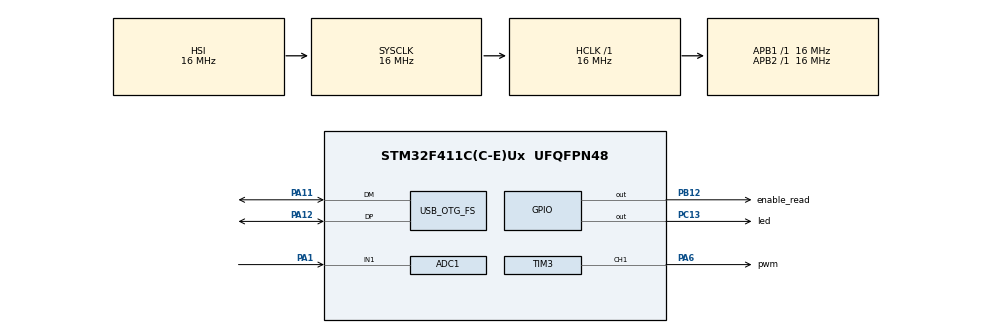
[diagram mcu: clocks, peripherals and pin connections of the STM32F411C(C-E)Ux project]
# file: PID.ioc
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ADC1.Channel-0\#ChannelRegularConversion=ADC_CHANNEL_1
ADC1.ContinuousConvMode=ENABLE
ADC1.DiscontinuousConvMode=DISABLE
ADC1.NbrOfConversion=1
ADC1.NbrOfConversionFlag=1
ADC1.Rank-0\#ChannelRegularConversion=1
ADC1.Resolution=ADC_RESOLUTION_10B
ADC1.SamplingTime-0\#ChannelRegularConversion=ADC_SAMPLETIME_3CYCLES
ADC1.ScanConvMode=DISABLE
ADC1.master=1
Mcu.Family=STM32F4
Mcu.Name=STM32F411C(C-E)Ux
Mcu.Package=UFQFPN48
NVIC.OTG_FS_IRQn=true\:0\:0\:false\:false\:true\:true\:true\:true
NVIC.PriorityGroup=NVIC_PRIORITYGROUP_4
NVIC.TIM4_IRQn=true\:0\:0\:false\:false\:true\:true\:true\:true
PA1.Signal=ADCx_IN1
PA11.Mode=Device_Only
PA11.Signal=USB_OTG_FS_DM
PA12.Mode=Device_Only
PA12.Signal=USB_OTG_FS_DP
PA13.Mode=Serial_Wire
PA13.Signal=SYS_JTMS-SWDIO
PA14.Mode=Serial_Wire
PA14.Signal=SYS_JTCK-SWCLK
PA6.GPIO_Label=pwm
PA6.Signal=S_TIM3_CH1
PB12.GPIO_Label=enable_read
PB12.Signal=GPIO_Output
PC13-ANTI_TAMP.GPIO_Label=led
PC13-ANTI_TAMP.Signal=GPIO_Output
PH0\ -\ OSC_IN.Mode=HSE-External-Oscillator
PH0\ -\ OSC_IN.Signal=RCC_OSC_IN
PH1\ -\ OSC_OUT.Mode=HSE-External-Oscillator
PH1\ -\ OSC_OUT.Signal=RCC_OSC_OUT
ProjectManager.HeapSize=0x200
ProjectManager.StackSize=0x400
ProjectManager.TargetToolchain=STM32CubeIDE
RCC.48MHZClocksFreq_Value=48000000
RCC.AHBFreq_Value=16000000
RCC.APB1Freq_Value=16000000
RCC.APB1TimFreq_Value=16000000
RCC.APB2Freq_Value=16000000
RCC.APB2TimFreq_Value=16000000
RCC.CortexFreq_Value=16000000
RCC.HCLKFreq_Value=16000000
RCC.HSE_VALUE=25000000
RCC.HSI_VALUE=16000000
RCC.LSE_VALUE=32768
RCC.PLLM=15
RCC.PLLN=144
RCC.PLLQ=5
RCC.SYSCLKFreq_VALUE=16000000
RCC.VCOOutputFreq_Value=240000000
SH.ADCx_IN1.0=ADC1_IN1,IN1
SH.S_TIM3_CH1.0=TIM3_CH1,PWM Generation1 CH1
TIM3.Channel-PWM\ Generation1\ CH1=TIM_CHANNEL_1
TIM3.OCMode_PWM-PWM\ Generation1\ CH1=TIM_OCMODE_PWM2
TIM3.Period=1000-1
TIM3.Prescaler=16-1
TIM3.Pulse-PWM\ Generation1\ CH1=0
TIM4.AutoReloadPreload=TIM_AUTORELOAD_PRELOAD_DISABLE
TIM4.Period=1000-1
TIM4.Prescaler=16-1
USB_DEVICE.CLASS_NAME_FS=CDC
USB_DEVICE.VirtualMode=Cdc
USB_DEVICE.VirtualModeFS=Cdc_FS
USB_OTG_FS.Sof_enable=DISABLE
USB_OTG_FS.VirtualMode=Device_Only
VP_TIM3_VS_ClockSourceINT.Mode=Internal
VP_TIM4_VS_ClockSourceINT.Mode=Internal
VP_USB_DEVICE_VS_USB_DEVICE_CDC_FS.Mode=CDC_FS
board=custom

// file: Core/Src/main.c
/* USER CODE BEGIN Header */
/**
  ******************************************************************************
  * @file           : main.c
  * @brief          : Main program body
  ******************************************************************************
  * @attention
  *
  * Copyright (c) 2025 STMicroelectronics.
  * All rights reserved.
  *
  * This software is licensed under terms that can be found in the LICENSE file
  * in the root directory of this software component.
  * If no LICENSE file comes with this software, it is provided AS-IS.
  *
  * Nota de Edición:
  * Según información leída, "se aplica una entrada escalón entre 10% y 20% del valor nominal y se registra la respuesta de salida hasta que se estabilice en el nuevo punto de operación." Esto con el fin de determinar correctamente la función transferencia.
  * De esto se obtiene una planta con 78,59% de aproximación; superando considerablemente al valor de 65% obtenido con los valores de PWM anteriores.
  * Se obtiene la siguiente planta:
  * G(s) = Kp/(1+Tp1*s)
  * Kp = 0.1026
  * Tp1 = 0.13677
  *
  ******************************************************************************
  */
/* USER CODE END Header */
#include "main.h"
#include "usb_device.h"

/* USER CODE BEGIN Includes */
#include "usbd_cdc_if.h"
#include <string.h>
#include <stdio.h>
#include "pid.h"
#include "communication.h"
/* USER CODE END Includes */

/* USER CODE BEGIN PM */

//Constantes de la planta (creo que no son necesarias)
#define K0 0.1026 //Ganancia de la planta
#define gamma0 0.13677 //Tiempo de la planta

/* USER CODE END PM */

ADC_HandleTypeDef hadc1;

TIM_HandleTypeDef htim3;
TIM_HandleTypeDef htim4;

/* USER CODE BEGIN PV */

//Registro ADC
uint16_t suma_ADC_values = 0;
uint16_t ADC_register [N_FILTRO_FIR] = {0}; //almacena los ultimos 32 datos del ADC
uint16_t ADC_IN = 0;

//Acondicionamiento de señal
float ADC_to_V = 0;

uint8_t R1 = 100; //resistencia de 100k
uint8_t R2 = 100; //resistencia de 100k
uint8_t PWM_percent = 0;

//Comunicación
bool flag_adc_read = 0;

instrucciones_t estado_actual = STOP;

/* USER CODE END PV */

void SystemClock_Config(void);
static void MX_GPIO_Init(void);
static void MX_ADC1_Init(void);
static void MX_TIM3_Init(void);
static void MX_TIM4_Init(void);
/* USER CODE BEGIN PFP */

void SwitchMode(instrucciones_t mode){
  estado_actual = mode;

  switch(estado_actual){
    case STOP:
      snprintf(bufferTx, sizeof(bufferTx), "Detenido...\r\n");
      CDC_Transmit_FS((uint8_t*)bufferTx, strlen(bufferTx));
      break;

    case WAIT:
      snprintf(bufferTx, sizeof(bufferTx), "Esperando...\r\n");
      CDC_Transmit_FS((uint8_t*)bufferTx, strlen(bufferTx));
      break;

    case ROUTINE:
      snprintf(bufferTx, sizeof(bufferTx), "Ejecución de Rutina...\r\n");
      CDC_Transmit_FS((uint8_t*)bufferTx, strlen(bufferTx));
      break;

    case PID_PARAMETERS_READ:
      snprintf(bufferTx, sizeof(bufferTx), "Leyendo parámetros PID...\r\n");
      CDC_Transmit_FS((uint8_t*)bufferTx, strlen(bufferTx));
      snprintf(bufferTx, sizeof(bufferTx), "Kp_z: %.3f\r\nKi_z: %.3f\r\nKd_z: %.3f\r\nTs: %.3f",PID.Kp_z,PID.Ki_z,PID.Kd_z,PID.Ts);
      CDC_Transmit_FS((uint8_t*)bufferTx, strlen(bufferTx));
      break;

    case PID_SET_POINT_READ:
      snprintf(bufferTx, sizeof(bufferTx), "Set Point: %.1f\r\n",PID.Maths.set_point);
      CDC_Transmit_FS((uint8_t*)bufferTx, strlen(bufferTx));
      break;

    case PID_SET_POINT_SET:
      snprintf(bufferTx, sizeof(bufferTx), "Modificando Set Point...\r\n");
      CDC_Transmit_FS((uint8_t*)bufferTx, strlen(bufferTx));
      break;

    case PID_PARAMETERS_SET:
      snprintf(bufferTx, sizeof(bufferTx), "Modificando parametros del PID...\r\n");
      CDC_Transmit_FS((uint8_t*)bufferTx, strlen(bufferTx));
      break;

    case PID_START:
      snprintf(bufferTx, sizeof(bufferTx), "Iniciando ejecución...\r\n");
      CDC_Transmit_FS((uint8_t*)bufferTx, strlen(bufferTx));
      break;

    case CLEAR_MEMORY:
      snprintf(bufferTx, sizeof(bufferTx), "Borrando memoria...\r\n");
      CDC_Transmit_FS((uint8_t*)bufferTx, strlen(bufferTx));
      break;

    case PID_PARAMETERS_RESET:
      snprintf(bufferTx, sizeof(bufferTx), "Reiniciando variables del PID...\r\n");
      CDC_Transmit_FS((uint8_t*)bufferTx, strlen(bufferTx));
      break;
  }
}

void ProccessBufferRx(char* bufferRx){
  if (strncmp(bufferRx, "stop", 4) == 0){
    SwitchMode(STOP);
  }
  else if (strncmp(bufferRx, "wait", 4) == 0){
    SwitchMode(WAIT);
  }
  else if (strncmp(bufferRx, "routine", 7) == 0){
    SwitchMode(ROUTINE);
  }
  else if (strncmp(bufferRx, "clear", 5) == 0){
    SwitchMode(CLEAR_MEMORY);
  }
  else if (strncmp(bufferRx, "pid reset", 9) == 0){
    SwitchMode(PID_PARAMETERS_RESET);
  }
  else if (strncmp(bufferRx, "pid parameters", 14) == 0){
    SwitchMode(PID_PARAMETERS_READ);
  }
  else if (strncmp(bufferRx, "set point", 9) == 0){
    SwitchMode(PID_SET_POINT_READ);
  }

  else if (strncmp(bufferRx, "SP: ", 3) == 0){
    SwitchMode(PID_SET_POINT_SET);
  }

  else if (strncmp(bufferRx,"Kp: ", 3) == 0 || strncmp(bufferRx,"Ki: ", 3) == 0 || strncmp(bufferRx,"Kp: ", 3) == 0){
    SwitchMode(PID_PARAMETERS_SET);
  }

  else if (strncmp(bufferRx, "start", 5) == 0){
    SwitchMode(PID_START);
  }

}
/* USER CODE END PFP */

/* USER CODE BEGIN 0 */
void HAL_TIM_PeriodElapsedCallback(TIM_HandleTypeDef *htim){

	//ADC
  if(htim->Instance == TIM4){

    HAL_ADC_Start(&hadc1);
	  if (HAL_ADC_PollForConversion(&hadc1,100) == HAL_OK){
      ADC_IN = HAL_ADC_GetValue(&hadc1);  //obtengo el valor actual

      suma_ADC_values -= ADC_register[Data_mem.cont_tim4 & (N_FILTRO_FIR - 1)];
      ADC_register[Data_mem.cont_tim4 & (N_FILTRO_FIR - 1)] = ADC_IN;
      suma_ADC_values += ADC_register[Data_mem.cont_tim4 & (N_FILTRO_FIR - 1)];

      //acondicionamiento de señal
      ADC_to_V =3.3 * (1+R1/R2) * (suma_ADC_values >> BITS_FILTRO_FIR)/1023.0;

      //Registro de datos en memoria
      if (Data_mem.cont_tim4 < TAMAÑO_MEMORIA_DATOS){
        Data_mem.PWM [Data_mem.cont_tim4] = PWM_percent;
        Data_mem.ADC_to_V [Data_mem.cont_tim4] = ADC_to_V;
        Data_mem.set_point [Data_mem.cont_tim4] = PID.Maths.set_point;
        Data_mem.cont_tim4++;
      }
	  }

    flag_adc_read = true;
  }
}

/* USER CODE END 0 */

int main(void)
{

  /* USER CODE BEGIN 1 */
  PIDCreate(Kp,Ki,Kd,Tss);
  /* USER CODE END 1 */

  /* MCU Configuration--------------------------------------------------------*/

  /* Reset of all peripherals, Initializes the Flash interface and the Systick. */
  HAL_Init();

  /* Configure the system clock */
  SystemClock_Config();

  /* Initialize all configured peripherals */
  MX_GPIO_Init();
  MX_ADC1_Init();
  MX_TIM3_Init();
  MX_TIM4_Init();
  MX_USB_DEVICE_Init();
  /* USER CODE BEGIN 2 */
  HAL_TIM_PWM_Start(&htim3,TIM_CHANNEL_1);
  HAL_TIM_Base_Start_IT(&htim4);

  /* USER CODE END 2 */

  /* Infinite loop */
  /* USER CODE BEGIN WHILE */

  //state = wait;
  //HAL_GPIO_WritePin(GPIOC, GPIO_PIN_13, GPIO_PIN_SET); //apago led
  //TIM4->DIER &= ~TIM_DIER_UIE; //deshabilito interrupciones de timer4

  //HAL_Delay(2000); //tiempo de conexión PC/micro

  //esto se deberia poder sacar
  ClearMemory();
  PIDReset();

  //state = start;
  //TIM4->DIER |= TIM_DIER_UIE; //habilito interrupciones de timer4
  //HAL_GPIO_WritePin(GPIOC, GPIO_PIN_13, GPIO_PIN_RESET); //enciendo led

  while (1)
  {
    /* USER CODE END WHILE */

    /* USER CODE BEGIN 3 */

	  // RECEPCION DE DATOS por usb
    if (flag_bufferRx){
      flag_bufferRx = 0;
      ProccessBufferRx(bufferRx);
    }

    // Estados
    if (estado_actual == STOP){
      SetSetPoint(0);
      TIM4->DIER &= ~TIM_DIER_UIE; //deshabilito interrupciones de timer4
      HAL_GPIO_WritePin(GPIOC, GPIO_PIN_13, GPIO_PIN_SET); //apago led
    }

    if (estado_actual == WAIT){

    }

    if (estado_actual == ROUTINE){
      TIM4->DIER |= TIM_DIER_UIE; //habilito interrupciones de timer4
      HAL_GPIO_WritePin(GPIOC, GPIO_PIN_13, GPIO_PIN_RESET); //enciendo led

      //Rutina
      if (Data_mem.cont_tim4 == 500)  SetSetPoint(1) ;
      if (Data_mem.cont_tim4 == 1500) SetSetPoint(3);
      if (Data_mem.cont_tim4 == 2000) SetSetPoint(1.8);
      if (Data_mem.cont_tim4 == 2500) SetSetPoint(0);
      if (Data_mem.cont_tim4 >= 3000){
        HAL_GPIO_WritePin(GPIOC, GPIO_PIN_13, GPIO_PIN_SET); //apago led
        TIM4->DIER &= ~TIM_DIER_UIE; //deshabilito interrupciones de timer4

        PrintConsoleMemory(); //imprimo en consola
        SwitchMode(STOP);
      };
    }

    if (estado_actual == PID_START){
      TIM4->DIER |= TIM_DIER_UIE; //habilito interrupciones de timer4
      HAL_GPIO_WritePin(GPIOC, GPIO_PIN_13, GPIO_PIN_RESET); //enciendo led
    }

    if (estado_actual == PID_SET_POINT_SET){
      char* ptr = bufferRx + 3; //apunto al valor del set point
      float set_point = strtof(ptr, NULL); //convierto el string a float
      SetSetPoint(set_point); //seteo el set point
      snprintf(bufferTx, sizeof(bufferTx), "Set Point: %.1f\r\n", PID.Maths.set_point);
      CDC_Transmit_FS((uint8_t*)bufferTx, strlen(bufferTx)); //imprimo en consola
      SwitchMode(WAIT);
    }

    if (estado_actual == PID_PARAMETERS_SET){
      char* ptr = bufferRx + 3; //apunto al valor del set point
      float value = strtof(ptr, NULL); //convierto el string a float

      //Filtro de constante
      if (strncmp(bufferRx, "Kp: ", 3) == 0){
        value = value;  //constante Kp
        SetPIDConst(&PID.Kp_z, value);
        snprintf(bufferTx, sizeof(bufferTx), "Kp_z seteado a: %.3f\r\n", PID.Kp_z);
        CDC_Transmit_FS((uint8_t*)bufferTx, strlen(bufferTx)); //imprimo en consola
      }
      if (strncmp(bufferRx, "Ki: ", 3) == 0){
        value = value * PID.Ts; //constante Ki
        SetPIDConst(&PID.Ki_z, value);
        snprintf(bufferTx, sizeof(bufferTx), "Ki_z seteado a: %.3f\r\n", PID.Ki_z);
        CDC_Transmit_FS((uint8_t*)bufferTx, strlen(bufferTx)); //imprimo en consola
      }
      if (strncmp(bufferRx, "Kd: ", 3) == 0){
        value = value / PID.Ts; //constante Ki
        SetPIDConst(&PID.Kd_z, value);
        snprintf(bufferTx, sizeof(bufferTx), "Kd_z seteado a: %.3f\r\n", PID.Kd_z);
        CDC_Transmit_FS((uint8_t*)bufferTx, strlen(bufferTx)); //imprimo en consola
      }

      SwitchMode(WAIT);
    }

    if(estado_actual == CLEAR_MEMORY){
      ClearMemory();
      snprintf(bufferTx, sizeof(bufferTx), "Memoria de datos borrada.\r\n");
      CDC_Transmit_FS((uint8_t*)bufferTx, strlen(bufferTx));
      SwitchMode(WAIT);
    }
    if(estado_actual == PID_PARAMETERS_RESET){
      SetSetPoint(0);
      PIDInit(Kp,Ki,Kd,Tss);
      snprintf(bufferTx, sizeof(bufferTx), "Se reiniciaron las variables del PID.\r\n");
      CDC_Transmit_FS((uint8_t*)bufferTx, strlen(bufferTx));
      SwitchMode(WAIT);
    }

    if (flag_adc_read == true){
      PWM_percent = PIDRefresh(ADC_to_V);
      __HAL_TIM_SET_COMPARE(&htim3,TIM_CHANNEL_1,PWM_percent*10);

      //Imprimir en consola info relevante
      if(estado_actual != ROUTINE){
        snprintf(bufferTx, sizeof(bufferTx), "PWM: %u - V_tac: %.2f\r\n", PWM_percent,ADC_to_V);
        CDC_Transmit_FS((uint8_t*)bufferTx, strlen(bufferTx)); //imprimo en consola
      }

      //limitador de error acumulado
      if (PID.Maths.integral > 1000){
        SetSetPoint(0);
        SwitchMode(WAIT);
        snprintf(bufferTx, sizeof(bufferTx), "Error de tensión. Reiniciar sistema!\r");
        CDC_Transmit_FS((uint8_t*)bufferTx, strlen(bufferTx));
        HAL_GPIO_WritePin(GPIOC, GPIO_PIN_13, GPIO_PIN_SET);
        break;
      }

      flag_adc_read = false;
    }
  }

  /* USER CODE END 3 */
}

void SystemClock_Config(void)
{
  RCC_OscInitTypeDef RCC_OscInitStruct = {0};
  RCC_ClkInitTypeDef RCC_ClkInitStruct = {0};

  /** Configure the main internal regulator output voltage
  */
  __HAL_RCC_PWR_CLK_ENABLE();
  __HAL_PWR_VOLTAGESCALING_CONFIG(PWR_REGULATOR_VOLTAGE_SCALE1);

  /** Initializes the RCC Oscillators according to the specified parameters
  * in the RCC_OscInitTypeDef structure.
  */
  RCC_OscInitStruct.OscillatorType = RCC_OSCILLATORTYPE_HSI|RCC_OSCILLATORTYPE_HSE;
  RCC_OscInitStruct.HSEState = RCC_HSE_ON;
  RCC_OscInitStruct.HSIState = RCC_HSI_ON;
  RCC_OscInitStruct.HSICalibrationValue = RCC_HSICALIBRATION_DEFAULT;
  RCC_OscInitStruct.PLL.PLLState = RCC_PLL_ON;
  RCC_OscInitStruct.PLL.PLLSource = RCC_PLLSOURCE_HSE;
  RCC_OscInitStruct.PLL.PLLM = 15;
  RCC_OscInitStruct.PLL.PLLN = 144;
  RCC_OscInitStruct.PLL.PLLP = RCC_PLLP_DIV2;
  RCC_OscInitStruct.PLL.PLLQ = 5;
  if (HAL_RCC_OscConfig(&RCC_OscInitStruct) != HAL_OK)
  {
    Error_Handler();
  }

  /** Initializes the CPU, AHB and APB buses clocks
  */
  RCC_ClkInitStruct.ClockType = RCC_CLOCKTYPE_HCLK|RCC_CLOCKTYPE_SYSCLK
                              |RCC_CLOCKTYPE_PCLK1|RCC_CLOCKTYPE_PCLK2;
  RCC_ClkInitStruct.SYSCLKSource = RCC_SYSCLKSOURCE_HSI;
  RCC_ClkInitStruct.AHBCLKDivider = RCC_SYSCLK_DIV1;
  RCC_ClkInitStruct.APB1CLKDivider = RCC_HCLK_DIV1;
  RCC_ClkInitStruct.APB2CLKDivider = RCC_HCLK_DIV1;

  if (HAL_RCC_ClockConfig(&RCC_ClkInitStruct, FLASH_LATENCY_0) != HAL_OK)
  {
    Error_Handler();
  }
}

static void MX_ADC1_Init(void)
{

  ADC_ChannelConfTypeDef sConfig = {0};

  /** Configure the global features of the ADC (Clock, Resolution, Data Alignment and number of conversion)
  */
  hadc1.Instance = ADC1;
  hadc1.Init.ClockPrescaler = ADC_CLOCK_SYNC_PCLK_DIV2;
  hadc1.Init.Resolution = ADC_RESOLUTION_10B;
  hadc1.Init.ScanConvMode = DISABLE;
  hadc1.Init.ContinuousConvMode = ENABLE;
  hadc1.Init.DiscontinuousConvMode = DISABLE;
  hadc1.Init.ExternalTrigConvEdge = ADC_EXTERNALTRIGCONVEDGE_NONE;
  hadc1.Init.ExternalTrigConv = ADC_SOFTWARE_START;
  hadc1.Init.DataAlign = ADC_DATAALIGN_RIGHT;
  hadc1.Init.NbrOfConversion = 1;
  hadc1.Init.DMAContinuousRequests = DISABLE;
  hadc1.Init.EOCSelection = ADC_EOC_SINGLE_CONV;
  if (HAL_ADC_Init(&hadc1) != HAL_OK)
  {
    Error_Handler();
  }

  /** Configure for the selected ADC regular channel its corresponding rank in the sequencer and its sample time.
  */
  sConfig.Channel = ADC_CHANNEL_1;
  sConfig.Rank = 1;
  sConfig.SamplingTime = ADC_SAMPLETIME_3CYCLES;
  if (HAL_ADC_ConfigChannel(&hadc1, &sConfig) != HAL_OK)
  {
    Error_Handler();
  }

}

static void MX_TIM3_Init(void)
{

  TIM_ClockConfigTypeDef sClockSourceConfig = {0};
  TIM_MasterConfigTypeDef sMasterConfig = {0};
  TIM_OC_InitTypeDef sConfigOC = {0};

  htim3.Instance = TIM3;
  htim3.Init.Prescaler = 16-1;
  htim3.Init.CounterMode = TIM_COUNTERMODE_UP;
  htim3.Init.Period = 1000-1;
  htim3.Init.ClockDivision = TIM_CLOCKDIVISION_DIV1;
  htim3.Init.AutoReloadPreload = TIM_AUTORELOAD_PRELOAD_DISABLE;
  if (HAL_TIM_Base_Init(&htim3) != HAL_OK)
  {
    Error_Handler();
  }
  sClockSourceConfig.ClockSource = TIM_CLOCKSOURCE_INTERNAL;
  if (HAL_TIM_ConfigClockSource(&htim3, &sClockSourceConfig) != HAL_OK)
  {
    Error_Handler();
  }
  if (HAL_TIM_PWM_Init(&htim3) != HAL_OK)
  {
    Error_Handler();
  }
  sMasterConfig.MasterOutputTrigger = TIM_TRGO_RESET;
  sMasterConfig.MasterSlaveMode = TIM_MASTERSLAVEMODE_DISABLE;
  if (HAL_TIMEx_MasterConfigSynchronization(&htim3, &sMasterConfig) != HAL_OK)
  {
    Error_Handler();
  }
  sConfigOC.OCMode = TIM_OCMODE_PWM2;
  sConfigOC.Pulse = 0;
  sConfigOC.OCPolarity = TIM_OCPOLARITY_HIGH;
  sConfigOC.OCFastMode = TIM_OCFAST_DISABLE;
  if (HAL_TIM_PWM_ConfigChannel(&htim3, &sConfigOC, TIM_CHANNEL_1) != HAL_OK)
  {
    Error_Handler();
  }
  HAL_TIM_MspPostInit(&htim3);

}

static void MX_TIM4_Init(void)
{

  TIM_ClockConfigTypeDef sClockSourceConfig = {0};
  TIM_MasterConfigTypeDef sMasterConfig = {0};

  htim4.Instance = TIM4;
  htim4.Init.Prescaler = 16-1;
  htim4.Init.CounterMode = TIM_COUNTERMODE_UP;
  htim4.Init.Period = 1000-1;
  htim4.Init.ClockDivision = TIM_CLOCKDIVISION_DIV1;
  htim4.Init.AutoReloadPreload = TIM_AUTORELOAD_PRELOAD_DISABLE;
  if (HAL_TIM_Base_Init(&htim4) != HAL_OK)
  {
    Error_Handler();
  }
  sClockSourceConfig.ClockSource = TIM_CLOCKSOURCE_INTERNAL;
  if (HAL_TIM_ConfigClockSource(&htim4, &sClockSourceConfig) != HAL_OK)
  {
    Error_Handler();
  }
  sMasterConfig.MasterOutputTrigger = TIM_TRGO_RESET;
  sMasterConfig.MasterSlaveMode = TIM_MASTERSLAVEMODE_DISABLE;
  if (HAL_TIMEx_MasterConfigSynchronization(&htim4, &sMasterConfig) != HAL_OK)
  {
    Error_Handler();
  }

}

static void MX_GPIO_Init(void)
{
  GPIO_InitTypeDef GPIO_InitStruct = {0};

  /* GPIO Ports Clock Enable */
  __HAL_RCC_GPIOC_CLK_ENABLE();
  __HAL_RCC_GPIOH_CLK_ENABLE();
  __HAL_RCC_GPIOA_CLK_ENABLE();
  __HAL_RCC_GPIOB_CLK_ENABLE();

  /*Configure GPIO pin Output Level */
  HAL_GPIO_WritePin(led_GPIO_Port, led_Pin, GPIO_PIN_RESET);

  /*Configure GPIO pin Output Level */
  HAL_GPIO_WritePin(enable_read_GPIO_Port, enable_read_Pin, GPIO_PIN_RESET);

  /*Configure GPIO pin : led_Pin */
  GPIO_InitStruct.Pin = led_Pin;
  GPIO_InitStruct.Mode = GPIO_MODE_OUTPUT_PP;
  GPIO_InitStruct.Pull = GPIO_NOPULL;
  GPIO_InitStruct.Speed = GPIO_SPEED_FREQ_LOW;
  HAL_GPIO_Init(led_GPIO_Port, &GPIO_InitStruct);

  /*Configure GPIO pin : enable_read_Pin */
  GPIO_InitStruct.Pin = enable_read_Pin;
  GPIO_InitStruct.Mode = GPIO_MODE_OUTPUT_PP;
  GPIO_InitStruct.Pull = GPIO_NOPULL;
  GPIO_InitStruct.Speed = GPIO_SPEED_FREQ_LOW;
  HAL_GPIO_Init(enable_read_GPIO_Port, &GPIO_InitStruct);

}

/* USER CODE BEGIN 4 */
// void HAL_TIM_PeriodElapsedCallback(TIM_HandleTypedef *htim){
//	if (htim->Instance == TIM4){
//		HAL_GPIO_TogglePin(LED_GPIO_PORT, LED_PIN);
//	}
//}
/* USER CODE END 4 */

void Error_Handler(void)
{
  __disable_irq();
  while (1)
  {
  }
}
